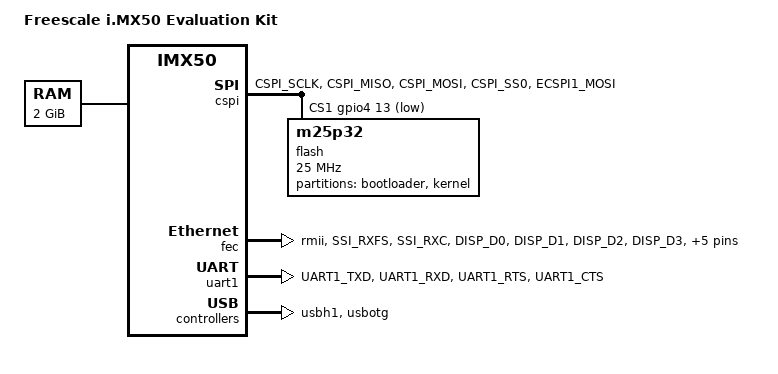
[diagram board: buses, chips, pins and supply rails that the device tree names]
// SPDX-License-Identifier: GPL-2.0+
//
// Copyright 2013 Greg Ungerer <gerg@uclinux.org>
// Copyright 2011 Freescale Semiconductor, Inc.
// Copyright 2011 Linaro Ltd.

/dts-v1/;
#include "imx50.dtsi"

/ {
	model = "Freescale i.MX50 Evaluation Kit";
	compatible = "fsl,imx50-evk", "fsl,imx50";

	memory@70000000 {
		device_type = "memory";
		reg = <0x70000000 0x80000000>;
	};
};

&cspi {
	pinctrl-names = "default";
	pinctrl-0 = <&pinctrl_cspi>;
	cs-gpios = <&gpio4 11 GPIO_ACTIVE_LOW>, <&gpio4 13 GPIO_ACTIVE_LOW>;
	status = "okay";

	flash: m25p32@1 {
		#address-cells = <1>;
		#size-cells = <1>;
		compatible = "m25p32", "jedec,spi-nor";
		spi-max-frequency = <25000000>;
		reg = <1>;

		partition@0 {
			label = "bootloader";
			reg = <0x0 0x100000>;
			read-only;
		};

		partition@100000 {
			label = "kernel";
			reg = <0x100000 0x300000>;
		};
	};
};

&fec {
	pinctrl-names = "default";
	pinctrl-0 = <&pinctrl_fec>;
	phy-mode = "rmii";
	phy-reset-gpios = <&gpio4 12 GPIO_ACTIVE_LOW>;
	status = "okay";
};

&iomuxc {
	imx50-evk {
		pinctrl_cspi: cspigrp {
			fsl,pins = <
				MX50_PAD_CSPI_SCLK__CSPI_SCLK		0x00
				MX50_PAD_CSPI_MISO__CSPI_MISO		0x00
				MX50_PAD_CSPI_MOSI__CSPI_MOSI		0x00
				MX50_PAD_CSPI_SS0__GPIO4_11		0xc4
				MX50_PAD_ECSPI1_MOSI__CSPI_SS1		0xf4
			>;
		};

		pinctrl_fec: fecgrp {
			fsl,pins = <
				MX50_PAD_SSI_RXFS__FEC_MDC		0x80
				MX50_PAD_SSI_RXC__FEC_MDIO		0x80
				MX50_PAD_DISP_D0__FEC_TX_CLK		0x80
				MX50_PAD_DISP_D1__FEC_RX_ERR		0x80
				MX50_PAD_DISP_D2__FEC_RX_DV		0x80
				MX50_PAD_DISP_D3__FEC_RDATA_1		0x80
				MX50_PAD_DISP_D4__FEC_RDATA_0		0x80
				MX50_PAD_DISP_D5__FEC_TX_EN		0x80
				MX50_PAD_DISP_D6__FEC_TDATA_1		0x80
				MX50_PAD_DISP_D7__FEC_TDATA_0		0x80
			>;
		};

		pinctrl_uart1: uart1grp {
			fsl,pins = <
				MX50_PAD_UART1_TXD__UART1_TXD_MUX	0x1e4
				MX50_PAD_UART1_RXD__UART1_RXD_MUX	0x1e4
				MX50_PAD_UART1_RTS__UART1_RTS		0x1e4
				MX50_PAD_UART1_CTS__UART1_CTS		0x1e4
			>;
		};
	};
};

&uart1 {
	pinctrl-names = "default";
	pinctrl-0 = <&pinctrl_uart1>;
	status = "okay";
};

&usbh1 {
	status = "okay";
};

&usbotg {
	status = "okay";
};
